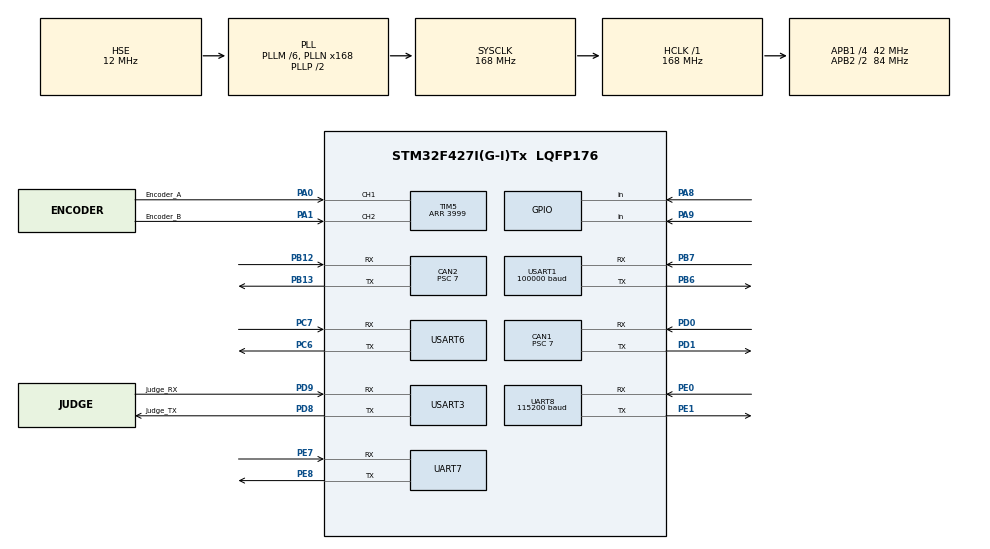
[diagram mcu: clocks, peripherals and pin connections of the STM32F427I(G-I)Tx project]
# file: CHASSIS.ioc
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CAN1.ABOM=ENABLE
CAN1.AWUM=ENABLE
CAN1.BS1=CAN_BS1_3TQ
CAN1.BS2=CAN_BS2_2TQ
CAN1.CalculateTimeQuantum=166.66666666666669
CAN1.NART=ENABLE
CAN1.Prescaler=7
CAN2.ABOM=ENABLE
CAN2.AWUM=ENABLE
CAN2.BS1=CAN_BS1_3TQ
CAN2.BS2=CAN_BS2_2TQ
CAN2.CalculateTimeQuantum=166.66666666666669
CAN2.NART=ENABLE
CAN2.Prescaler=7
Dma.Request0=USART6_RX
Dma.Request1=USART6_TX
Dma.Request2=USART1_RX
Dma.Request3=UART8_RX
Dma.Request4=USART3_RX
Dma.Request5=UART7_RX
Dma.UART7_RX.5.Direction=DMA_PERIPH_TO_MEMORY
Dma.UART7_RX.5.FIFOMode=DMA_FIFOMODE_DISABLE
Dma.UART7_RX.5.Instance=DMA1_Stream3
Dma.UART7_RX.5.MemDataAlignment=DMA_MDATAALIGN_BYTE
Dma.UART7_RX.5.MemInc=DMA_MINC_ENABLE
Dma.UART7_RX.5.Mode=DMA_CIRCULAR
Dma.UART7_RX.5.PeriphDataAlignment=DMA_PDATAALIGN_BYTE
Dma.UART7_RX.5.PeriphInc=DMA_PINC_DISABLE
Dma.UART7_RX.5.Priority=DMA_PRIORITY_LOW
Dma.UART8_RX.3.Direction=DMA_PERIPH_TO_MEMORY
Dma.UART8_RX.3.FIFOMode=DMA_FIFOMODE_DISABLE
Dma.UART8_RX.3.Instance=DMA1_Stream6
Dma.UART8_RX.3.MemDataAlignment=DMA_MDATAALIGN_BYTE
Dma.UART8_RX.3.MemInc=DMA_MINC_ENABLE
Dma.UART8_RX.3.Mode=DMA_CIRCULAR
Dma.UART8_RX.3.PeriphDataAlignment=DMA_PDATAALIGN_BYTE
Dma.UART8_RX.3.PeriphInc=DMA_PINC_DISABLE
Dma.UART8_RX.3.Priority=DMA_PRIORITY_MEDIUM
Dma.USART1_RX.2.Direction=DMA_PERIPH_TO_MEMORY
Dma.USART1_RX.2.FIFOMode=DMA_FIFOMODE_DISABLE
Dma.USART1_RX.2.Instance=DMA2_Stream2
Dma.USART1_RX.2.MemDataAlignment=DMA_MDATAALIGN_BYTE
Dma.USART1_RX.2.MemInc=DMA_MINC_ENABLE
Dma.USART1_RX.2.Mode=DMA_CIRCULAR
Dma.USART1_RX.2.PeriphDataAlignment=DMA_PDATAALIGN_BYTE
Dma.USART1_RX.2.PeriphInc=DMA_PINC_DISABLE
Dma.USART1_RX.2.Priority=DMA_PRIORITY_HIGH
Dma.USART3_RX.4.Direction=DMA_PERIPH_TO_MEMORY
Dma.USART3_RX.4.FIFOMode=DMA_FIFOMODE_DISABLE
Dma.USART3_RX.4.Instance=DMA1_Stream1
Dma.USART3_RX.4.MemDataAlignment=DMA_MDATAALIGN_BYTE
Dma.USART3_RX.4.MemInc=DMA_MINC_ENABLE
Dma.USART3_RX.4.Mode=DMA_CIRCULAR
Dma.USART3_RX.4.PeriphDataAlignment=DMA_PDATAALIGN_BYTE
Dma.USART3_RX.4.PeriphInc=DMA_PINC_DISABLE
Dma.USART3_RX.4.Priority=DMA_PRIORITY_MEDIUM
Dma.USART6_RX.0.Direction=DMA_PERIPH_TO_MEMORY
Dma.USART6_RX.0.FIFOMode=DMA_FIFOMODE_DISABLE
Dma.USART6_RX.0.Instance=DMA2_Stream1
Dma.USART6_RX.0.MemDataAlignment=DMA_MDATAALIGN_BYTE
Dma.USART6_RX.0.MemInc=DMA_MINC_ENABLE
Dma.USART6_RX.0.Mode=DMA_NORMAL
Dma.USART6_RX.0.PeriphDataAlignment=DMA_PDATAALIGN_BYTE
Dma.USART6_RX.0.PeriphInc=DMA_PINC_DISABLE
Dma.USART6_RX.0.Priority=DMA_PRIORITY_VERY_HIGH
Dma.USART6_TX.1.Direction=DMA_MEMORY_TO_PERIPH
Dma.USART6_TX.1.FIFOMode=DMA_FIFOMODE_DISABLE
Dma.USART6_TX.1.Instance=DMA2_Stream6
Dma.USART6_TX.1.MemDataAlignment=DMA_MDATAALIGN_BYTE
Dma.USART6_TX.1.MemInc=DMA_MINC_ENABLE
Dma.USART6_TX.1.Mode=DMA_NORMAL
Dma.USART6_TX.1.PeriphDataAlignment=DMA_PDATAALIGN_BYTE
Dma.USART6_TX.1.PeriphInc=DMA_PINC_DISABLE
Dma.USART6_TX.1.Priority=DMA_PRIORITY_LOW
FREERTOS.INCLUDE_vTaskDelayUntil=1
FREERTOS.Tasks01=defaultTask,-3,128,StartDefaultTask,Default,NULL,Dynamic,NULL,NULL;MYTask03,1,128,CAN1_recive,Default,NULL,Dynamic,NULL,NULL;myTask04,0,128,DeBug,Default,NULL,Dynamic,NULL,NULL;myTaskforinit,-1,128,init_task,Default,NULL,Dynamic,NULL,NULL;Task_Can2_Reive,1,256,Can2_Reive,Default,NULL,Dynamic,NULL,NULL
Mcu.Family=STM32F4
Mcu.Name=STM32F427I(G-I)Tx
Mcu.Package=LQFP176
NVIC.CAN1_RX0_IRQn=true\:6\:0\:true\:false\:true\:true\:true\:true
NVIC.CAN2_RX0_IRQn=true\:6\:0\:true\:false\:true\:true\:true\:true
NVIC.DMA1_Stream1_IRQn=true\:0\:0\:false\:false\:true\:true\:false\:true
NVIC.DMA1_Stream3_IRQn=true\:0\:0\:false\:false\:true\:true\:false\:true
NVIC.DMA1_Stream6_IRQn=true\:0\:0\:false\:false\:true\:true\:false\:true
NVIC.DMA2_Stream1_IRQn=true\:0\:0\:false\:false\:true\:true\:false\:true
NVIC.DMA2_Stream2_IRQn=true\:0\:0\:false\:false\:true\:true\:false\:true
NVIC.DMA2_Stream6_IRQn=true\:0\:0\:false\:false\:true\:true\:false\:true
NVIC.PriorityGroup=NVIC_PRIORITYGROUP_4
NVIC.TIM3_IRQn=true\:7\:0\:true\:false\:true\:true\:true\:true
NVIC.TIM6_DAC_IRQn=true\:0\:0\:false\:false\:true\:false\:false\:true
NVIC.TIM7_IRQn=true\:6\:0\:true\:false\:true\:true\:true\:true
NVIC.TimeBase=TIM6_DAC_IRQn
NVIC.TimeBaseIP=TIM6
NVIC.UART7_IRQn=true\:7\:0\:true\:false\:true\:true\:true\:true
NVIC.UART8_IRQn=true\:7\:0\:true\:false\:true\:true\:true\:true
NVIC.USART1_IRQn=true\:7\:0\:true\:false\:true\:true\:true\:true
NVIC.USART3_IRQn=true\:7\:0\:true\:false\:true\:true\:true\:true
NVIC.USART6_IRQn=true\:6\:0\:true\:false\:true\:true\:true\:true
PA0/WKUP.GPIO_Label=Encoder_A
PA0/WKUP.GPIO_ModeDefaultPP=GPIO_MODE_AF_PP
PA0/WKUP.GPIO_PuPd=GPIO_PULLUP
PA0/WKUP.GPIO_Speed=GPIO_SPEED_FREQ_HIGH
PA0/WKUP.Signal=S_TIM5_CH1
PA1.GPIO_Label=Encoder_B
PA1.GPIO_ModeDefaultPP=GPIO_MODE_AF_PP
PA1.GPIO_PuPd=GPIO_PULLUP
PA1.GPIO_Speed=GPIO_SPEED_FREQ_HIGH
PA1.Signal=S_TIM5_CH2
PA13.Mode=Serial_Wire
PA13.Signal=SYS_JTMS-SWDIO
PA14.Mode=Serial_Wire
PA14.Signal=SYS_JTCK-SWCLK
PA8.GPIO_Mode=GPIO_MODE_INPUT
PA8.GPIO_PuPd=GPIO_PULLUP
PA8.Signal=GPIO_Input
PA9.GPIO_Mode=GPIO_MODE_INPUT
PA9.GPIO_PuPd=GPIO_PULLUP
PA9.Signal=GPIO_Input
PB12.Mode=Slave
PB12.Signal=CAN2_RX
PB13.Mode=Slave
PB13.Signal=CAN2_TX
PB6.GPIO_ModeDefaultPP=GPIO_MODE_AF_PP
PB6.GPIO_PuPd=GPIO_NOPULL
PB6.GPIO_Speed=GPIO_SPEED_FREQ_VERY_HIGH
PB6.Mode=Asynchronous
PB6.Signal=USART1_TX
PB7.GPIO_ModeDefaultPP=GPIO_MODE_AF_PP
PB7.GPIO_PuPd=GPIO_NOPULL
PB7.GPIO_Speed=GPIO_SPEED_FREQ_VERY_HIGH
PB7.Mode=Asynchronous
PB7.Signal=USART1_RX
PC6.Mode=Asynchronous
PC6.Signal=USART6_TX
PC7.Mode=Asynchronous
PC7.Signal=USART6_RX
PD0.Mode=Master
PD0.Signal=CAN1_RX
PD1.Mode=Master
PD1.Signal=CAN1_TX
PD8.GPIO_Label=Judge_TX
PD8.Mode=Asynchronous
PD8.Signal=USART3_TX
PD9.GPIO_Label=Judge_RX
PD9.Mode=Asynchronous
PD9.Signal=USART3_RX
PE0.Mode=Asynchronous
PE0.Signal=UART8_RX
PE1.Mode=Asynchronous
PE1.Signal=UART8_TX
PE7.Mode=Asynchronous
PE7.Signal=UART7_RX
PE8.Mode=Asynchronous
PE8.Signal=UART7_TX
PH0/OSC_IN.Mode=HSE-External-Oscillator
PH0/OSC_IN.Signal=RCC_OSC_IN
PH1/OSC_OUT.Mode=HSE-External-Oscillator
PH1/OSC_OUT.Signal=RCC_OSC_OUT
ProjectManager.HeapSize=0x2000
ProjectManager.StackSize=0x2000
ProjectManager.TargetToolchain=MDK-ARM V5.27
RCC.48MHZClocksFreq_Value=48000000
RCC.AHBFreq_Value=168000000
RCC.APB1CLKDivider=RCC_HCLK_DIV4
RCC.APB1Freq_Value=42000000
RCC.APB1TimFreq_Value=84000000
RCC.APB2CLKDivider=RCC_HCLK_DIV2
RCC.APB2Freq_Value=84000000
RCC.APB2TimFreq_Value=168000000
RCC.CortexFreq_Value=168000000
RCC.HCLKFreq_Value=168000000
RCC.HSE_VALUE=12000000
RCC.HSI_VALUE=16000000
RCC.LSE_VALUE=32768
RCC.PLLM=6
RCC.PLLN=168
RCC.PLLQ=7
RCC.PLLSourceVirtual=RCC_PLLSOURCE_HSE
RCC.SYSCLKFreq_VALUE=168000000
RCC.SYSCLKSource=RCC_SYSCLKSOURCE_PLLCLK
RCC.VCOOutputFreq_Value=336000000
SH.S_TIM5_CH1.0=TIM5_CH1,Encoder_Interface
SH.S_TIM5_CH2.0=TIM5_CH2,Encoder_Interface
TIM3.AutoReloadPreload=TIM_AUTORELOAD_PRELOAD_ENABLE
TIM3.Period=49
TIM3.Prescaler=83
TIM5.EncoderMode=TIM_ENCODERMODE_TI12
TIM5.Period=3999
TIM7.AutoReloadPreload=TIM_AUTORELOAD_PRELOAD_ENABLE
TIM7.Period=999
TIM7.Prescaler=83
UART7.VirtualMode=Asynchronous
UART8.BaudRate=115200
UART8.VirtualMode=Asynchronous
USART1.BaudRate=100000
USART1.VirtualMode=VM_ASYNC
USART3.VirtualMode=VM_ASYNC
USART6.VirtualMode=VM_ASYNC
VP_FREERTOS_VS_CMSIS_V1.Mode=CMSIS_V1
VP_RNG_VS_RNG.Mode=RNG_Activate
VP_SYS_VS_tim6.Mode=TIM6
VP_TIM3_VS_ClockSourceINT.Mode=Internal
VP_TIM7_VS_ClockSourceINT.Mode=Enable_Timer
board=custom

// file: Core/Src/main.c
/* USER CODE BEGIN Header */
/**       Code is far away from bug with the animal protecting
 *          .,:,,,                                        .::,,,::.
 *        .::::,,;;,                                  .,;;:,,....:i:
 *        :i,.::::,;i:.      ....,,:::::::::,....   .;i:,.  ......;i.
 *        :;..:::;::::i;,,:::;:,,,,,,,,,,..,.,,:::iri:. .,:irsr:,.;i.
 *        ;;..,::::;;;;ri,,,.                    ..,,:;s1s1ssrr;,.;r,
 *        :;. ,::;ii;:,     . ...................     .;iirri;;;,,;i,
 *        ,i. .;ri:.   ... ............................  .,,:;:,,,;i:
 *        :s,.;r:... ....................................... .::;::s;
 *        ,1r::. .............,,,.,,:,,........................,;iir;
 *        ,s;...........     ..::.,;:,,.          ...............,;1s
 *       :i,..,.              .,:,,::,.          .......... .......;1,
 *      ir,....:rrssr;:,       ,,.,::.     .r5S9989398G95hr;. ....,.:s,
 *     ;r,..,s9855513XHAG3i   .,,,,,,,.  ,S931,.,,.;s;s&BHHA8s.,..,..:r:
 *    :r;..rGGh,  :SAG;;G@BS:.,,,,,,,,,.r83:      hHH1sXMBHHHM3..,,,,.ir.
 *   ,si,.1GS,   sBMAAX&MBMB5,,,,,,:,,.:&8       3@HXHBMBHBBH#X,.,,,,,,rr
 *   ;1:,,SH:   .A@&&B#&8H#BS,,,,,,,,,.,5XS,     3@MHABM&59M#As..,,,,:,is,
 *  .rr,,,;9&1   hBHHBB&8AMGr,,,,,,,,,,,:h&&9s;   r9&BMHBHMB9:  . .,,,,;ri.
 *  :1:....:5&XSi;r8BMBHHA9r:,......,,,,:ii19GG88899XHHH&GSr.      ...,:rs.
 *  ;s.     .:sS8G8GG889hi.        ....,,:;:,.:irssrriii:,.        ...,,i1,
 *  ;1,         ..,....,,isssi;,        .,,.                      ....,.i1,
 *  ;h:               i9HHBMBBHAX9:         .                     ...,,,rs,
 *  ,1i..            :A#MBBBBMHB##s                             ....,,,;si.
 *  .r1,..        ,..;3BMBBBHBB#Bh.     ..                    ....,,,,,i1;
 *   :h;..       .,..;,1XBMMMMBXs,.,, .. :: ,.               ....,,,,,,ss.
 *    ih: ..    .;;;, ;;:s58A3i,..    ,. ,.:,,.             ...,,,,,:,s1,
 *    .s1,....   .,;sh,  ,iSAXs;.    ,.  ,,.i85            ...,,,,,,:i1;
 *     .rh: ...     rXG9XBBM#M#MHAX3hss13&&HHXr         .....,,,,,,,ih;
 *      .s5: .....    i598X&&A&AAAAAA&XG851r:       ........,,,,:,,sh;
 *      . ihr, ...  .         ..                    ........,,,,,;11:.
 *         ,s1i. ...  ..,,,..,,,.,,.,,.,..       ........,,.,,.;s5i.
 *          .:s1r,......................       ..............;shs,
 *          . .:shr:.  ....                 ..............,ishs.
 *              .,issr;,... ...........................,is1s;.
 *                 .,is1si;:,....................,:;ir1sr;,
 *                    ..:isssssrrii;::::::;;iirsssssr;:..
 *                         .,::iiirsssssssssrri;;:.
 *		Code is far away from bug with the animal protecting
 *						神兽保佑，代码永无BUG
 */

/**
  ******************************************************************************
  * @file           : main.c
  * @brief          : Main program body
  ******************************************************************************
  * @attention
  *
  * <h2><center>&copy; Copyright (c) 2021 STMicroelectronics.
  * All rights reserved.</center></h2>
  *
  * This software component is licensed by ST under Ultimate Liberty license
  * SLA0044, the "License"; You may not use this file except in compliance with
  * the License. You may obtain a copy of the License at:
  *                             www.st.com/SLA0044
  *
  ******************************************************************************
  */
/* USER CODE END Header */
#include "main.h"
#include "cmsis_os.h"
#include "can.h"
#include "dma.h"
#include "rng.h"
#include "tim.h"
#include "usart.h"
#include "gpio.h"

/* USER CODE BEGIN Includes */
#include "DR16_RECIVE.h"
#include "my_positionPID_bate.h"
#include "FPS_Calculate.h"

/* USER CODE END Includes */

void SystemClock_Config(void);
void MX_FREERTOS_Init(void);

/* USER CODE BEGIN 0 */
//uint32_t time_every100us=0;
int time_every1s=0;
uint32_t time_every100ms=0;

//uint32_t task2_times=0;
//uint32_t task3_times=0;
//uint32_t pendsv_times=0;
//uint32_t sysclk_to_pendsv=0;
//int guance1;
//int guance2;
uint32_t zdcsjc=0;//can接收次数
uint32_t time7_times=0;//定时器7中断进入次数
uint32_t task_init_times=0;//初始化任务运行次数
uint32_t task_can_times=0;//CAN接收任务运行次数
uint32_t task_can2_times=0;//CAN2接收任务运行次数

uint32_t task_debug_times=0;//上位机发送任务运行次数
uint32_t task_controul_times=0;//总控制任务运行次数
int every_1s_times=0;//方便计算

float yaw_trage_angle=0;
float yaw_trage_angle2;

float yaw_trage_speed=0;
float PITCH_trage_angle=0;
float PITCH_trage_angle_2=0;

int PITCH_trage_speed=0;
int CHASSIS_trage_speed=0;
int CHASSIS_trage_speed_last=0;
int CHASSIS_trage_angle=0;

float PITCH_MAX_angle=0;
float PITCH_MIN_angle=0;

int CHASSIS_MAX_SPEED=6500;

int break_FX=-1;

int send_to_yaw=0;//发送给yaw轴的数据
int send_to_pitch=0;//发送给pitch轴的数据
int send_to_chassis=0;//发送给底盘的数据
int send_to_break_text=0;//发送给底盘的数据
int send_to_chassis_special=0;//发送给底盘的数据
long M2006_targe_angle_text=0;
bool use_special_send=0;
int send_to_SHOOT_R=0;//发送给右发射摩擦轮的数据  +
int send_to_SHOOT_L=0;//发送给左发射摩擦轮的数据  -
int send_to_driver=0;//发送给拨盘电机的数据

float PITCH_IMU_Kp=1;

int M_3508_error=0;

int SHOOT_L=0;//左摩擦轮的目标速度   应该为负值
int SHOOT_R=0;//右摩擦轮的目标速度

bool HWswitch_R=1;
bool HWswitch_L=1;

bool HWswitch_R_last=1;
bool HWswitch_L_last=1;

int CHASSIS_L_MAX=510000;
int CHASSIS_R_MIN=0;

int ENCODER_L_MAX=0;//编码器通过光电更新的最大值
int ENCODER_R_MIN=1000;	//编码器通过光电更新的最小值
int ENCODER_M_MID=0;//编码器通过光电更新的中间值
int ENCODER_LONG=250000;//编码器通过光电更新的轨道长度
int ENCODER_SPEED=250000;//这次的值
int M3508_3ms_ago;//3毫秒以前的值
int M3508_3ms_change;//3毫秒改变的值
int M3508_3ms_ago_total_angle;//3毫秒以前的值
int M3508_3ms_ago_speed;//3毫秒改变的值
float M3508_speed_angle_kp;//角度与速度的关系
float encoder_fbl_k=1.0;//分辨率的比例关系
int ENCODER_ADD=0;//编码器这次的值减上次的值得到加速度
int ENCODER_CHANGE=0;//BMQ改变值

int ENCODER_ARRIVE_MAX=0;//编码器抵达的最大值
int ENCODER_ARRIVE_MIN=0;//编码器抵达的最小值

int32_t CHASSIS_L_MAX_by_ENCODER;//变向用的左边界值
int32_t CHASSIS_R_MIN_by_ENCODER;//变向用的右边界值

int32_t CHASSIS_R_XNQ_by_ENCODER;//虚拟墙右
int32_t CHASSIS_L_XNQ_by_ENCODER;//虚拟墙左

int reverse_by_ENCODER=8000; //变向提前值
int speed_change=0;
int CHASSIS_MID=250000;

int driver_targe_speed=0;

short int speed_change_times=0;

float DEBUFF=0;

int uart_8_times=0;
int uart_3_times=0;

int time_3_times=0;

float Vision_RawData_Yaw_Angle=0;
float Vision_RawData_Pitch_Angle=0;

bool send_to_C;//DR16_遥控器_是否发送给C板
bool break_is_raedy=1;//刹车已经装备好了

/*
机器人状态数据，10Hz 周期发送                              27(15)
实时功率热量数据，50Hz 周期发送                            16(14)
伤害状态数据，伤害发生后发送                               1
实时射击数据，子弹发射后发送                               6
子弹剩余发送数，空中机器人以及哨兵机器人发送，1Hz 周期发送   2
*/
bool send_to_C_JS_SHOOT;//裁判系统_发射数据_是否发送给C板
bool send_to_C_JS_HURT;//裁判系统_伤害数据_是否发送给C板
bool send_to_C_JS_STATUS;//裁判系统_状态数据_是否发送给C板
bool send_to_C_JS_HEAT=0;//裁判系统_状态数据_是否发送给C板

bool send_to_C_IN_END=0;//是否 处于轨道尽头_状态数据_是否发送给C板 100ms发一次
bool send_to_C_IN_MID=0;// 处于轨道中间_状态数据_是否发送给C板  1秒一次

bool send_to_C_SPEED_CHANGE=0;// 处于轨道中间_状态数据_是否发送给C板  1秒一次
int8_t SPEED_CHANGE_STATE=0;
bool in_MID=0;//处在轨道中间段
bool in_END=0;//处在轨道尽头

bool last_in_MID=0;//刚刚处在轨道中间段
bool last_in_END=0;//刚刚处在轨道尽头

int send_to_C_times;
int send_to_C_STATUS_times=0;//因为状态数据分4段发送,所以计数保险一点

int CH_TOTAL=0;
float Chassis_PowerLimit=1;
bool stop_chassic_output=0;
bool stop_CH_OP_BC_END=0;
int stop_CH_OP_BC_END_times=0;
bool stop_CH_OP_BC_LESS=0;
bool stop_CH_OP_BC_BREAK=0;
int stop_CH_OP_BC_BREAK_times=0;

int stop_CH_OP_BC_LESS_times=0;
int CHASSIS_trage_speed_temp;
int JS_SEND_times=0;//裁判系统发送次数
int place_SEND_times=0;//底盘位置发送次数

int M3508_acceleration_cycle=10;//加速度计算周期(每次计算的间隔)(ms)
int M3508_last_speed;//上一时刻的速度,用于加速度计算
float M3508_acceleration; //加速度

int hurt_times_ago=9999;//多久前被击打,初始化不会触发
float KB_add_speed=1.4;//狂暴模式加速
float KB_low_JB=30;//狂暴模式缓冲功率下限
float KB_high_JB=80;//狂暴模式缓冲功率回复目标

int usart_7_times=0;

bool disable_for_test=0;///为了调试///为了调试///为了调试///为了调试///为了调试///为了调试
bool state_Infrared_R_is_ok=0;//右边红外传感器运转正常
bool state_Infrared_L_is_ok=0;//左边红外传感器运转正常

int ch4_DW_total=0;
int restart_times=0;//重启时间

int CAN2_SEND_TASK_times=0;//任务运行时间
//driver  plate
/* USER CODE END 0 */

int main(void)
{

  /* MCU Configuration--------------------------------------------------------*/

  /* Reset of all peripherals, Initializes the Flash interface and the Systick. */
  HAL_Init();

  /* Configure the system clock */
  SystemClock_Config();

  /* Initialize all configured peripherals */
  MX_GPIO_Init();
  MX_DMA_Init();
  MX_USART6_UART_Init();
  MX_TIM7_Init();
  MX_CAN1_Init();
  MX_USART1_UART_Init();
  MX_CAN2_Init();
  MX_RNG_Init();
  MX_TIM5_Init();
  MX_UART8_Init();
  MX_TIM3_Init();
  MX_USART3_UART_Init();
  MX_UART7_Init();
  /* USER CODE BEGIN 2 */
   usart1_dr16_init();

//USART6->DR = '2';
    /*使能定时器1中断*/
    HAL_TIM_Base_Start_IT(&htim7);
    HAL_TIM_Base_Start_IT(&htim3);

  /* USER CODE END 2 */

  /* Call init function for freertos objects (in freertos.c) */
  MX_FREERTOS_Init();
  /* Start scheduler */
  osKernelStart();

  /* We should never get here as control is now taken by the scheduler */
  /* Infinite loop */
  while (1)
  {

    /* USER CODE BEGIN 3 */

//	  	   NM_swj();
//	  osdelay();
	  HAL_Delay(1);
//	  NM_swj2();
	  	  HAL_Delay(1);
  }
  /* USER CODE END 3 */
}

void SystemClock_Config(void)
{
  RCC_OscInitTypeDef RCC_OscInitStruct = {0};
  RCC_ClkInitTypeDef RCC_ClkInitStruct = {0};

  /** Configure the main internal regulator output voltage
  */
  __HAL_RCC_PWR_CLK_ENABLE();
  __HAL_PWR_VOLTAGESCALING_CONFIG(PWR_REGULATOR_VOLTAGE_SCALE1);
  /** Initializes the RCC Oscillators according to the specified parameters
  * in the RCC_OscInitTypeDef structure.
  */
  RCC_OscInitStruct.OscillatorType = RCC_OSCILLATORTYPE_HSE;
  RCC_OscInitStruct.HSEState = RCC_HSE_ON;
  RCC_OscInitStruct.PLL.PLLState = RCC_PLL_ON;
  RCC_OscInitStruct.PLL.PLLSource = RCC_PLLSOURCE_HSE;
  RCC_OscInitStruct.PLL.PLLM = 6;
  RCC_OscInitStruct.PLL.PLLN = 168;
  RCC_OscInitStruct.PLL.PLLP = RCC_PLLP_DIV2;
  RCC_OscInitStruct.PLL.PLLQ = 7;
  if (HAL_RCC_OscConfig(&RCC_OscInitStruct) != HAL_OK)
  {
    Error_Handler();
  }
  /** Initializes the CPU, AHB and APB buses clocks
  */
  RCC_ClkInitStruct.ClockType = RCC_CLOCKTYPE_HCLK|RCC_CLOCKTYPE_SYSCLK
                              |RCC_CLOCKTYPE_PCLK1|RCC_CLOCKTYPE_PCLK2;
  RCC_ClkInitStruct.SYSCLKSource = RCC_SYSCLKSOURCE_PLLCLK;
  RCC_ClkInitStruct.AHBCLKDivider = RCC_SYSCLK_DIV1;
  RCC_ClkInitStruct.APB1CLKDivider = RCC_HCLK_DIV4;
  RCC_ClkInitStruct.APB2CLKDivider = RCC_HCLK_DIV2;

  if (HAL_RCC_ClockConfig(&RCC_ClkInitStruct, FLASH_LATENCY_5) != HAL_OK)
  {
    Error_Handler();
  }
}

/* USER CODE BEGIN 4 */

//  uint32_t wait;
//uint32_t tickstart;
int my_ms_delay1(uint32_t ms_Delay)
	//ms_Delay=100
{
//	   tickstart = MY_GetTick();
//   wait = time_every100us+10*ms_Delay;

  /* Add a freq to guarantee minimum wait */
//  if (wait < HAL_MAX_DELAY)
//  {
//    wait += (uint32_t)(uwTickFreq);
//  }

  while(1)
  {
//	 if( time_every100us> wait)
//	 {
//		 	  guance1=time_every100us- wait;
//		 return 0;
//	 }
//	 	  guance2=guance1;
  }

}

void my_ms_delay2(uint32_t ms_Delay2)
	//ms_Delay=100
{
//	  uint32_t tickstart2 = time_every100us;
//  uint32_t wait2 = ms_Delay2*10;

  /* Add a freq to guarantee minimum wait */
//  if (wait < HAL_MAX_DELAY)
//  {
//    wait += (uint32_t)(uwTickFreq);
//  }

//  while((MY_GetTick() - tickstart2) < wait2)
//  {
//  }

}

uint32_t MY_GetTick(void)
{
//  return time_every100us;
	  return 1000;

}

/* USER CODE END 4 */

void HAL_TIM_PeriodElapsedCallback(TIM_HandleTypeDef *htim)
{
  if (htim->Instance == TIM6) {
    HAL_IncTick();
  }
}

void Error_Handler(void)
{
}

/************************ (C) COPYRIGHT STMicroelectronics *****END OF FILE****/

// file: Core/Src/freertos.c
/* USER CODE BEGIN Header */
/**
 ******************************************************************************
 * File Name          : freertos.c
 * Description        : Code for freertos applications
 ******************************************************************************
 * @attention
 *
 * <h2><center>&copy; Copyright (c) 2021 STMicroelectronics.
 * All rights reserved.</center></h2>
 *
 * This software component is licensed by ST under Ultimate Liberty license
 * SLA0044, the "License"; You may not use this file except in compliance with
 * the License. You may obtain a copy of the License at:
 *                             www.st.com/SLA0044
 *
 ******************************************************************************
 */
/* USER CODE END Header */

#include "FreeRTOS.h"
#include "task.h"
#include "main.h"
#include "cmsis_os.h"

/* USER CODE BEGIN Includes */
#include "DR16_RECIVE.h"
#include "usart.h"
#include "BSP_CAN.h"
#include "GM6020.h"
#include "my_positionPID_bate.h"
#include "DJI_C_IMU.h"
#include "M3508.h"
#include "MY_CLOUD_CONTROL.h"
#include "MY_CHASSIS_CONTROL.h"
#include "my_IncrementPID_bate.h"
#include "tim.h"
#include "M2006.h"
#include "MY_SHOOT_CONTROL.h"
#include "Vision.h"
#include "user_UART.h"
#include "FPS_Calculate.h"
#include "User_math.h"
#include "RM_JudgeSystem.h"
#include "DR16_CAN2_SEND.h"
#include "CHASSIS_CONTROL_basic.h"
#include "CHASSIS_CONTROL_2.h"
#include "CAN2_SEND.h"
#include "Sensor.h"
#include "BREAK.h"
#include "IVC.h"
#include "COM_TO_PC.h"

//#include "task.h"

/* USER CODE END Includes */

/* USER CODE BEGIN Variables */
osMessageQId CAN1_Queue;
osMessageQId CAN2_Queue;
//控制任务句柄
osThreadId RobotCtrl_Handle;
//任务入口函数
void Robot_Control(void const *argument);

//控制任务句柄
osThreadId RobotSensor_Handle;
//任务入口函数
void Robot_Sensor(void const *argument);

/* USER CODE END Variables */
osThreadId defaultTaskHandle;
osThreadId MYTask03Handle;
osThreadId myTask04Handle;
osThreadId myTaskforinitHandle;
osThreadId Task_Can2_ReiveHandle;

void StartDefaultTask(void const * argument);
void CAN1_recive(void const * argument);
void DeBug(void const * argument);
void init_task(void const * argument);
void Can2_Reive(void const * argument);

void MX_FREERTOS_Init(void); /* (MISRA C 2004 rule 8.1) */

/* GetIdleTaskMemory prototype (linked to static allocation support) */
void vApplicationGetIdleTaskMemory( StaticTask_t **ppxIdleTaskTCBBuffer, StackType_t **ppxIdleTaskStackBuffer, uint32_t *pulIdleTaskStackSize );

/* USER CODE BEGIN GET_IDLE_TASK_MEMORY */
static StaticTask_t xIdleTaskTCBBuffer;
static StackType_t xIdleStack[configMINIMAL_STACK_SIZE];

void vApplicationGetIdleTaskMemory(StaticTask_t **ppxIdleTaskTCBBuffer, StackType_t **ppxIdleTaskStackBuffer, uint32_t *pulIdleTaskStackSize)
{
	*ppxIdleTaskTCBBuffer = &xIdleTaskTCBBuffer;
	*ppxIdleTaskStackBuffer = &xIdleStack[0];
	*pulIdleTaskStackSize = configMINIMAL_STACK_SIZE;
	/* place for user code */
}
/* USER CODE END GET_IDLE_TASK_MEMORY */

void MX_FREERTOS_Init(void) {

  /* USER CODE BEGIN RTOS_QUEUES */
	/* add queues, ... */
	CAN1_Queue = xQueueCreate(32, sizeof(CAN_Rx_TypeDef));
	CAN2_Queue = xQueueCreate(32, sizeof(CAN_Rx_TypeDef));
  /* USER CODE END RTOS_QUEUES */

  /* Create the thread(s) */
  /* definition and creation of defaultTask */
  osThreadDef(defaultTask, StartDefaultTask, osPriorityIdle, 0, 128);
  defaultTaskHandle = osThreadCreate(osThread(defaultTask), NULL);

  /* definition and creation of MYTask03 */
  osThreadDef(MYTask03, CAN1_recive, osPriorityAboveNormal, 0, 128);
  MYTask03Handle = osThreadCreate(osThread(MYTask03), NULL);

  /* definition and creation of myTask04 */
  osThreadDef(myTask04, DeBug, osPriorityNormal, 0, 128);
  myTask04Handle = osThreadCreate(osThread(myTask04), NULL);

  /* definition and creation of myTaskforinit */
  osThreadDef(myTaskforinit, init_task, osPriorityBelowNormal, 0, 128);
  myTaskforinitHandle = osThreadCreate(osThread(myTaskforinit), NULL);

  /* definition and creation of Task_Can2_Reive */
  osThreadDef(Task_Can2_Reive, Can2_Reive, osPriorityAboveNormal, 0, 256);
  Task_Can2_ReiveHandle = osThreadCreate(osThread(Task_Can2_Reive), NULL);

  /* USER CODE BEGIN RTOS_THREADS */
	/* add threads, ...
  defaultTask    	245		<1%
  Task_Robot_Cont	1580		1%            //主控电机
  Task_Can2_Reive	4325		4%   CAN2     //CAN2接收
  MYTask03       	7604		7%   CAN1     //CAN1接收
  myTask04       	1385		1%   DEBUG    //CAN2发送
  IDLE           	80866		81%  */       //空闲
  /* USER CODE END RTOS_THREADS */

}

void StartDefaultTask(void const * argument)
{
	for (;;)
	{
		osDelay(1);
	}
}

/* USER CODE BEGIN Header_CAN1_recive */
/**
 * @brief Function implementing the MYTask03 thread.
 * @param argument: Not used
 * @retval None
 */
int last_turnCount = 0;
/* USER CODE END Header_CAN1_recive */
void CAN1_recive(void const * argument)
{
  /* USER CODE BEGIN CAN1_recive */
	// CAN1接收队列发送的数据的结构体变量
	CAN_Rx_TypeDef CAN1_Rx_Structure;
	task_can_times++;

	//出队的状态变量
	BaseType_t ExitQueue_Status;
	/* Infinite loop */
	for (;;)
	{
		task_can_times++;
		//死等队列有消息
		ExitQueue_Status = xQueueReceive(CAN1_Queue, &CAN1_Rx_Structure, portMAX_DELAY);
		//出队成功
		if (ExitQueue_Status == pdTRUE)
		{
			/*Cloud*/
			if (CAN1_Rx_Structure.CAN_RxMessage.StdId == GM6020_READID_START)
			{
				//云台的yaw轴
				GM6020_Yaw_getInfo(CAN1_Rx_Structure);
			}

			if (CAN1_Rx_Structure.CAN_RxMessage.StdId == (GM6020_READID_START + 1))
			{
				//云台的yaw轴
				GM6020_Pitch_getInfo(CAN1_Rx_Structure); // 6400-7160
			}
			if (CAN1_Rx_Structure.CAN_RxMessage.StdId == M3508_READID_END)
			{
				//底盘电机
				M3508_getInfo(CAN1_Rx_Structure); // 6400-7160
#if 0
				if(M3508s[3].realSpeed>900||M3508s[3].realSpeed<-900)//在运动中
				{
						if(M3508s[3].realSpeed>1000)//正向运动
						{
								if(	last_turnCount==M3508s[3].turnCount)
								{//同一圈之内
										if(M3508s[3].realSpeed<=M3508s[3].last_angle)
										{
											M_3508_error++;
										}
								}
						}
						if(M3508s[3].realSpeed<-1000)//反向运动
						{
								if(	last_turnCount==M3508s[3].turnCount)
								{//同一圈之内
										if(M3508s[3].realSpeed>=M3508s[3].last_angle)
										{
											M_3508_error++;
										}
								}
						}

				}

									last_turnCount=M3508s[3].turnCount;

#endif
			}
			if (CAN1_Rx_Structure.CAN_RxMessage.StdId == (M3508_READID_START))
			{
				//左摩擦轮的    ID1
				M3508s1_getInfo(CAN1_Rx_Structure); //
			}
			if (CAN1_Rx_Structure.CAN_RxMessage.StdId == (M3508_READID_START + 1))
			{
				//右摩擦轮的	ID2
				M3508s1_getInfo(CAN1_Rx_Structure); //
			}
			if (CAN1_Rx_Structure.CAN_RxMessage.StdId == (M3508_READID_START + 2))
			{
				//拨盘电机		ID3
				M2006_getInfo(CAN1_Rx_Structure); //
			}
		}

		// osDelay(1);
	}
  /* USER CODE END CAN1_recive */
}

/* USER CODE BEGIN Header_DeBug */
/**
 * @brief Function implementing the myTask04 thread.
 * @param argument: Not used
 * @retval None
 */
//char RunTimeInfo[400]; //保存任务运行时间信息
/* USER CODE END Header_DeBug */
void DeBug(void const * argument)
{
  /* USER CODE BEGIN DeBug */
	/* Infinite loop */
	for (;;)
	{

		CAN2_SEND_TASK_times++;
		if(CAN2_SEND_TASK_times%150)
		{
			#if I_am_sender==1

//		IVC_SEND();
#endif
		}
		if(CHASSIS_L_MAX_new==1&&CHASSIS_R_MIN_new==1)
	{//初始化完成才有末端判断

		if(send_to_C_SPEED_CHANGE==1)
		{
		SPEED_CHANGE_SEND_control();
		send_to_C_SPEED_CHANGE=0;
		}

				if(Chassis_Encoder.totalLine<(CHASSIS_R_MIN_by_ENCODER+reverse_by_ENCODER)||Chassis_Encoder.totalLine>(CHASSIS_L_MAX_by_ENCODER-reverse_by_ENCODER))
		{
			if(last_in_MID==1)
			{
				send_to_C_IN_END=1;//刚刚进入末尾段,马上发一帧
				last_in_MID=0;
			}
			last_in_END=1;
			in_END=1;
			in_MID=0;
		}
		else//没有判断是不是在初始化
		{

			in_END=0;
			in_MID=1;
			/* 前两行是用来控制发送频率的,两种不同的发送频率*/
			/* 接下来是进入轨道末端和离开轨道末端瞬间发送的(触发)*/

			if(last_in_END==1)
			{
				send_to_C_IN_END=1;//刚刚离开末尾段,马上发一帧
				last_in_END=0;
			}
			last_in_MID=1;
		}
	}
		else
	{
	in_MID=1;
		in_END=0;
		//初始化没完成,认为在轨道中间
	}
		if(in_MID==1)
		{
		if(CAN2_SEND_TASK_times%100==0)//发送频率为1秒10次
		{
						send_to_C_IN_END=1;	//发送频率为1秒10次
		}
		}

		if(in_END==1)
		{
		if(CAN2_SEND_TASK_times%10==0)//发送频率为1秒100次
		{
					send_to_C_IN_END=1;	//发送频率为1秒100次
		}
		}
//		Update_Vision_SendData();
		if (send_to_C == 1)//遥控器数据
		{
			ch4_DW_total=DR16.rc.ch4_DW;
			DR16_send_master_control();
			send_to_C_times++;
			send_to_C = 0;
		}
		if(send_to_C_JS_HURT==1)//伤害状态数据，伤害发生后发送
		{
			send_to_C_JS_HURT=0;
			JS_send_HURT_control();
		}
		if (send_to_C_JS_SHOOT == 1)//实时射击数据，子弹发射后发送
		{
JS_send_SHOOT_control();
			JS_SEND_times++;
			send_to_C_JS_SHOOT=0;
		}
		if (send_to_C_JS_STATUS == 1)//裁判系统_状态数据_10Hz 周期发送
		{
			send_to_C_STATUS_times++;
JS_send_STATUS_control();
			send_to_C_JS_STATUS=0;
		}
		if(send_to_C_JS_HEAT == 1)
		{
			JS_send_HEAT_control();
			send_to_C_JS_HEAT=0;
		}
		if(send_to_C_IN_END==1)
		{
			PLACE_send_control();
			place_SEND_times++;
			send_to_C_IN_END=0;
		}

			/*
	  //memset(RunTimeInfo,0,400);				//信息缓冲区清零

		  vTaskGetRunTimeStats(RunTimeInfo);		//获取任务运行时间信息
		HAL_UART_Transmit_DMA(&huart6, (uint8_t *)&RunTimeInfo, 400);

		*/
		//	  HAL_UART_Transmit(&huart6, (uint8_t *)&RunTimeInfo, 400, 0xFFFF);
		//		  for (uint16_t i = 0; i < 400; i++)
		//	{
		//		while ((UART6->SR & 0X40) == 0);
		//		UART6->DR = RunTimeInfo[i];
		//	}

		//			printf("任务名\t\t\t运行时间\t运行所占百分比\r\n");
		//			printf("%s\r\n",RunTimeInfo);
		osDelay(1);
	}
  /* USER CODE END DeBug */
}

void init_task(void const * argument)
{
  /* USER CODE BEGIN init_task */

	portTickType xLastWakeTime;
	xLastWakeTime = xTaskGetTickCount();
	const TickType_t TimeIncrement = pdMS_TO_TICKS(2); //每十毫秒强制进入总控制

	// DJIC_IMU.last_pitch=0;
	//	taskENTER_CRITICAL(); //进入临界区
	CAN1_Config();
	CAN2_Config();
	//编码器模式初始化
	// AB
	HAL_TIM_Encoder_Start(&htim5, TIM_CHANNEL_ALL);
	//	HAL_Delay(1000);

//	//视觉
//	__HAL_UART_CLEAR_IDLEFLAG(&huart8);

//	__HAL_UART_ENABLE_IT(&huart8, UART_IT_IDLE);

//	USART_RX_DMA_ENABLE(&huart8, Vision_DataBuff, Vision_BuffSize);
	//传感器1
	__HAL_UART_CLEAR_IDLEFLAG(&huart8);

	__HAL_UART_ENABLE_IT(&huart8, UART_IT_IDLE);

	USART_RX_DMA_ENABLE(&huart8, SENSOR_L_DataBuff, SENSOR_BuffSize);

//传感器2
	__HAL_UART_CLEAR_IDLEFLAG(&huart7);
//	__HAL_UART_ENABLE(&huart7);

	__HAL_UART_ENABLE_IT(&huart7, UART_IT_IDLE);

	USART_RX_DMA_ENABLE(&huart7, SENSOR_R_DataBuff, SENSOR_BuffSize);

	//裁判系统
	__HAL_UART_CLEAR_IDLEFLAG(&huart3);

	__HAL_UART_ENABLE_IT(&huart3, UART_IT_IDLE);

	USART_RX_DMA_ENABLE(&huart3, JudgeSystem_rxBuff, JUDGESYSTEM_PACKSIZE);

	/*
	CAN1_Filter0_Init();
		HAL_CAN_Start(&hcan1);
	__HAL_CAN_ENABLE_IT(&hcan1, CAN_IT_RX_FIFO0_MSG_PENDING);
	*/
	/*PID参数初始化*/
#if PID_MOTOR //是否开启电机的PID
	P_PID_Parameter_Init(&Yaw_Speed_pid, 550, 10, 0,
						 120, //误差大于这个值就积分分离
						 //	float max_error, float min_error,
						 //                          float alpha,
						 2000, -2000, //积分限幅，也就是积分的输出范围
						 29000, -29000);
	P_PID_Parameter_Init(&Yaw_Angle_pid, 0.03, 0, 0,
						 0,
						 //						  float max_error, float min_error,
						 //                          float alpha,
						 0, 0,
						 220, -220); //

#endif

#if PID_IMU
	P_PID_Parameter_Init(&Yaw_IMU_Speed_pid, 500, 6, 0,
						 120, //误差大于这个值就积分分离
						 //	float max_error, float min_error,
						 //                          float alpha,
						 5000, -5000, //积分限幅，也就是积分的输出范围
						 28000, -28000);
	P_PID_Parameter_Init(&Yaw_IMU_Angle_pid, -11, 0, 0,
						 0,
						 //						  float max_error, float min_error,
						 //                          float alpha,
						 0, 0,
						 500, -500); // Yaw_IMU_Angle_pid
#endif

#if PID_PITCH_MOTOR
	P_PID_Parameter_Init(&PITCH_Angle_pid, 1, 0, 0,
						 0, //误差大于这个值就积分分离
						 //	float max_error, float min_error,
						 //                          float alpha,
						 220, -220, //积分限幅，也就是积分的输出范围
						 220, -220);
	P_PID_Parameter_Init(&PITCH_Speed_pid, 300, 1, 0,
						 120,
						 //						  float max_error, float min_error,
						 //                          float alpha,
						 10000, -10000,	 //积分限幅，也就是积分的输出范围
						 29000, -29000); // Yaw_IMU_Angle_pid
#endif

#if PID_PITCH_IMU
	P_PID_Parameter_Init(&PITCH_IMU_Speed_pid, 200, 1, 0,
						 120, //误差大于这个值就积分分离
						 //	float max_error, float min_error,
						 //                          float alpha,
						 5000, -5000, //积分限幅，也就是积分的输出范围
						 28000, -28000);
	P_PID_Parameter_Init(&PITCH_IMU_Angle_pid, 8, 0, 0,
						 0,
						 //						  float max_error, float min_error,
						 //                          float alpha,
						 0, 0,
						 500, -500); // Yaw_IMU_Angle_pid

#endif

#if PID_CHASSIS_MOTOR
	P_PID_Parameter_Init(&CHASSIS_MOTOR_ANGLE_pid, 5, 0, 0,
						 10, //误差大于这个值就积分分离
						 //	float max_error, float min_error,
						 //                          float alpha,
						 50, -50, //积分限幅，也就是积分的输出范围
						 4300, -4300);
//	P_PID_Parameter_Init(&CHASSIS_MOTOR_SPEED_pid, 15, 0.5, 0,
//						 500,
//						 //						  float max_error, float min_error,
//						 //                          float alpha,
//						 10000, -10000,
//						 14000, -14000); // Yaw_IMU_Angle_pid

	P_PID_Parameter_Init(&CHASSIS_MOTOR_SPEED_pid, 5, 0, 0,
						 500,
						 //						  float max_error, float min_error,
						 //                          float alpha,
						 10000, -10000,
						 14000, -14000); // Yaw_IMU_Angle_pid
#endif

	I_PID_Parameter_Init(&SHOOT_L_I_PID, 20, 0.5, 1,
						 7000, 7000, -7000,
						 0.5,
						 14000, -14000,
						 16000, -16000); //摩擦轮电机

	//
	I_PID_Parameter_Init(&SHOOT_R_I_PID, 20, 0.5, 1,
						 7000, 7000, -7000,
						 0.5,
						 14000, -14000,
						 16000, -14000); //摩擦轮电机

	I_PID_Parameter_Init(&Driver_I_PID, 13, 0.3, 1,
						 5000,		  //积分分离
						 5000, -5000, //最大误差
						 0.5,
						 5000, -5000,
						 10000, -10000); //摩擦轮电机

	/////////////////////////////////////////////////////////////////////自瞄YAW轴
	P_PID_Parameter_Init(&Yaw_EM_Angle_pid, 0.14, 0, 0,
						 0, //误差大于这个值就积分分离
						 //	float max_error, float min_error,
						 //                          float alpha,
						 0, 0,		 //积分限幅，也就是积分的输出范围
						 240, -240); // YAW轴自瞄PID,慢慢来

	P_PID_Parameter_Init(&Yaw_EM_Speed_pid, 500, 6, 0,
						 120,
						 //						  float max_error, float min_error,
						 //                          float alpha,
						 2000, -2000,
						 28000, -28000); // Yaw_IMU_Angle_pid

	/////////////////////////////////////////////////////////////////////自瞄PITCH轴
	P_PID_Parameter_Init(&PITCH_EM_Speed_pid, 180, 1, 0,
						 120, //误差大于这个值就积分分离
						 //	float max_error, float min_error,
						 //                          float alpha,
						 5000, -5000, //积分限幅，也就是积分的输出范围
						 28000, -28000);
	P_PID_Parameter_Init(&PITCH_EM_Angle_pid, 0.8, 0, 0,
						 0,
						 //						  float max_error, float min_error,
						 //                          float alpha,
						 0, 0,
						 80, -80); // Yaw_IMU_Angle_pid       BREAK_SPEED_pid

	P_PID_Parameter_Init(&BREAK_ANGLE_pid, 0.2, 0, 0,
						 5000,
						 //						  float max_error, float min_error,
						 //                          float alpha,
						 10, -10,
						 3500, -3500);
P_PID_Parameter_Init(&BREAK_SPEED_pid, 2, 0.01, 0,
						 3000,
						 //						  float max_error, float min_error,
						 //                          float alpha,
						 1000, -1000,
						 9999, -9999);
	HAL_Delay(100);

	HAL_Delay(100);

	task_init_times++;
	CHASSIS_trage_angle = 9990000;

ext_power_heat_data.data.chassis_power_buffer=200;

		osThreadDef(Sensor, Robot_Sensor, Sensor_Priority, 0, Sensor_Size);
	RobotSensor_Handle = osThreadCreate(osThread(Sensor), NULL);

	osThreadDef(Control, Robot_Control, RobotCtrl_Priority, 0, RobotCtrl_Size);
	RobotCtrl_Handle = osThreadCreate(osThread(Control), NULL);

	//	taskEXIT_CRITICAL(); //退出临界区   Sensor传感器

	vTaskDelete(NULL);

	/* Infinite loop */
	for (;;)
	{
		task_init_times++;
		//		vTaskDelayUntil(&xLastWakeTime, TimeIncrement);

		HAL_Delay(100);
	}
  /* USER CODE END init_task */
}

void Can2_Reive(void const * argument)
{
  /* USER CODE BEGIN Can2_Reive */
	// CAN2接收队列发送的数据的结构体变量
	CAN_Rx_TypeDef CAN2_Rx_Structure;
	//出队的状态变量
	BaseType_t ExitQueue_Status;
	//		task_can2_times++;

	/* Infinite loop */
	for (;;)
	{
		//死等队列有消息
		ExitQueue_Status = xQueueReceive(CAN2_Queue, &CAN2_Rx_Structure, portMAX_DELAY);
		//出队成功
		if (ExitQueue_Status == pdTRUE)
		{

			if (CAN2_Rx_Structure.CAN_RxMessage.StdId == DR16_R_ID)
			{
				DJI_C_DR16_getInfo(CAN2_Rx_Structure);
			}
			/*DJIC_IMU*/
			// IMU_Euler
			if (CAN2_Rx_Structure.CAN_RxMessage.StdId == DJI_C_Angle)
			{
				DJI_C_Euler_getInfo(CAN2_Rx_Structure);
			}
			// Gyro
			if (CAN2_Rx_Structure.CAN_RxMessage.StdId == DJI_C_Gyro)
			{
				DJI_C_Gyro_getInfo(CAN2_Rx_Structure);
			}
		}
		Updata_Hand_Euler_Gyro_Data();
		//		task_can2_times++;
		//    osDelay(1);
	}
  /* USER CODE END Can2_Reive */
}

/* USER CODE BEGIN Application */
uint16_t times_i;
uint16_t times_x;

void Robot_Sensor(void const *argument)
{
	/* USER CODE BEGIN RobotControl */
	portTickType xLastWakeTime_2;
	xLastWakeTime_2 = xTaskGetTickCount();
	const TickType_t TimeIncrement_2 = pdMS_TO_TICKS(1); //每1毫秒强制进入

com_to_pc_INIT();
	/* Infinite loop */
	for (;;)
	{

				task_debug_times++;
 if(task_debug_times%M3508_acceleration_cycle==0)//加速度计算周期(每次计算的间隔)(ms)
 {
 M3508_acceleration=M3508s[3].realSpeed-M3508_last_speed;//加速度计算
 M3508_last_speed=M3508s[3].realSpeed;
 }
 if(ext_game_robot_HP.data.blue_outpost_HP>0 )
 {
	key_message.blue_outpost_is_live=1;
 }
 else//前哨判断
 {
	key_message.blue_outpost_is_live=0;
 }
 if(ext_game_robot_HP.data.red_outpost_HP>0 )
 {
	key_message.red_outpost_is_live=1;
 }
 else//前哨判断
 {
	key_message.red_outpost_is_live=0;
 }
if(ext_game_robot_state.data.robot_id== 7)//自己是红色
{
	if(	key_message.red_outpost_is_live==1)
    key_message.our_outpost_is_live=1;
	else
    key_message.our_outpost_is_live=0;

}
if(ext_game_robot_state.data.robot_id== 107)//自己蓝色
{
	if(	key_message.blue_outpost_is_live==1)
    key_message.our_outpost_is_live=1;
	else
    key_message.our_outpost_is_live=0;

}
 times_x++;
 if(times_x>0)
 {
				Get_Encoder_Value(&Chassis_Encoder, &htim5);

	 	 if(Chassis_Encoder.totalLine>ENCODER_ARRIVE_MAX)
		 ENCODER_ARRIVE_MAX=Chassis_Encoder.totalLine;
	 	 if(Chassis_Encoder.totalLine<ENCODER_ARRIVE_MIN)
		 ENCODER_ARRIVE_MIN=Chassis_Encoder.totalLine;

	 if(Chassis_Encoder.totalLine>ENCODER_L_MAX)
		 ENCODER_L_MAX=Chassis_Encoder.totalLine;

	 if(Chassis_Encoder.totalLine<ENCODER_R_MIN)
		 ENCODER_R_MIN=Chassis_Encoder.totalLine;
	 //ENCODER_L_MAX
	 times_x=0;
 }

		if (DR16.rc.s_right != 3) //是否上位机
		{
			times_i++;
			if (times_i > 1) // 100ms发一次
			{
//					  	   NM_swj();
				com_to_pc_control();
				times_i = 0;
			}
		}

		if(ext_robot_hurt.data.hurt_type==0)
		{
			if(ext_robot_hurt.data.armor_id==0||ext_robot_hurt.data.armor_id==1)
			{
				hurt_times_ago=0;//被击中了
				ext_robot_hurt.data.hurt_type=10;
			}

		}
		if(DR16.rc.s_left==1||DR16.rc.s_left==2)
		{//自动挡
			if(DR16.rc.ch4_DW>=200)
			{
				restart_times++;//拨下了多久?
			}
			else
			{
				restart_times=0;//松手,清零
			}
			if(restart_times>1000)//3秒
			{
				if(CHASSIS_R_MIN_new==1&&CHASSIS_L_MAX_new==1)//初始化已经完成
				{
					CHASSIS_R_MIN_new=0;CHASSIS_L_MAX_new=0;
				}
				restart_times=0;//完成重启,清零
			}
		}
        else
		{
						restart_times=0;//切换档位,清零
		}

		vTaskDelayUntil(&xLastWakeTime_2, TimeIncrement_2);

	}

	/* USER CODE END RobotControl */
}

void Robot_Control(void const *argument)
{
	/* USER CODE BEGIN RobotControl */
	portTickType xLastWakeTime;
	xLastWakeTime = xTaskGetTickCount();
	const TickType_t TimeIncrement = pdMS_TO_TICKS(3); //每1毫秒强制进入总控制
	CHASSIS.Absolute_Max=4000;
	CHASSIS.Rate=25;//底盘速度的斜坡函数增加值

	/* Infinite loop */
	for (;;)
	{

						if (DR16.rc.s_left == 2&&DR16.rc.ch3<-600) //失能保护
				{
					disable_for_test=1;
				}
				if (DR16.rc.s_left == 2&&DR16.rc.ch3>600) //失能保护
				{
					disable_for_test=0;
				}

		task_controul_times++;
		hurt_times_ago++;//伤害计时

//		break_init();
		switch_change();
		star_and_new();//弹道测试后取消注释
		CHASSIS_CONTROUL();
		break_control();

if(stop_CH_OP_BC_LESS==1)//!
{
			send_to_chassis = 0;//弹道测试后取消注释//到达指定速度后随机的失能
}
if(stop_CH_OP_BC_END==1)
{
			send_to_chassis = 0;//弹道测试后取消注释//撞柱前,加速,然后失能一段时间
}
if(stop_CH_OP_BC_BREAK==1)
{
			send_to_chassis = 0;//弹道测试后取消注释//撞柱前,加速,然后失能一段时间
}
if(DR16.s_left_last!=DR16.rc.s_left)
{
	stop_CH_OP_BC_LESS=0;
	stop_CH_OP_BC_END=0;
}
		DR16.s_left_last=DR16.rc.s_left;
		DR16.s_right_last=DR16.rc.s_right;

		if(disable_for_test==1) //测试用,便于云台底盘分开调试
		{
				send_to_chassis = 0;
		}

//		if(CHASSIS_trage_speed>0&&send_to_chassis<0)
//			send_to_chassis=0;
//		if(CHASSIS_trage_speed<0&&send_to_chassis>0)
//			send_to_chassis=0;
		if (DR16.rc.s_left == 2 || DR16.rc.s_left == 0) //失能保护
		{
			CHASSIS_MOTOR_SPEED_pid.Integral=0;
			send_to_chassis = 0;
			CHASSIS_trage_speed=0;
			send_to_break=0;
			send_to_break_text=0;
		 C_T_P.C_model.data='0';
				if (DR16.rc.ch4_DW >= 200)  //拨下
				{
				break_basic.STATE =0;
				}

		}

		M3508s1_setCurrent(0, 0, send_to_break, send_to_chassis);
//		M3508s1_setCurrent(0, 0, 0, 0);
		vTaskDelayUntil(&xLastWakeTime, TimeIncrement);

		//			  	  HAL_Delay(100);
		//底盘控制执行
		//		Chassis_FUN.Chassis_Control();
		//		//云台控制执行
		//		Cloud_FUN.Cloud_Control();
		//		//攻击控制执行
		//		Attack_FUN.Attack_Processing();
		//
		//		//CAN发送数据给电机
		//		//云台
		//		GM6020_SetVoltage(Cloud.yaw_output, Cloud.pitch_output, 0, 0);
		//		//摩擦轮
		//		//M3508s1_setCurrent(Shoot.Shoot1->OutputCurrent,Shoot.Shoot2->OutputCurrent,0,0);
		//		//拨盘
		//		//M2006_setCurrent(0,0,M2006s[2].OutputCurrent,0);
		//		//底盘
		//		//M3508_setCurrent(0,0,0,Chassis.EM->OutputCurrent);
		//		//由于他们都是同个CAN1发送的
		//		M3508s1_setCurrent(Shoot.Shoot1->OutputCurrent,Shoot.Shoot2->OutputCurrent,M2006s[2].OutputCurrent,Chassis.EM->OutputCurrent);
	}

	/* USER CODE END RobotControl */
}

/* USER CODE END Application */

/************************ (C) COPYRIGHT STMicroelectronics *****END OF FILE****/
